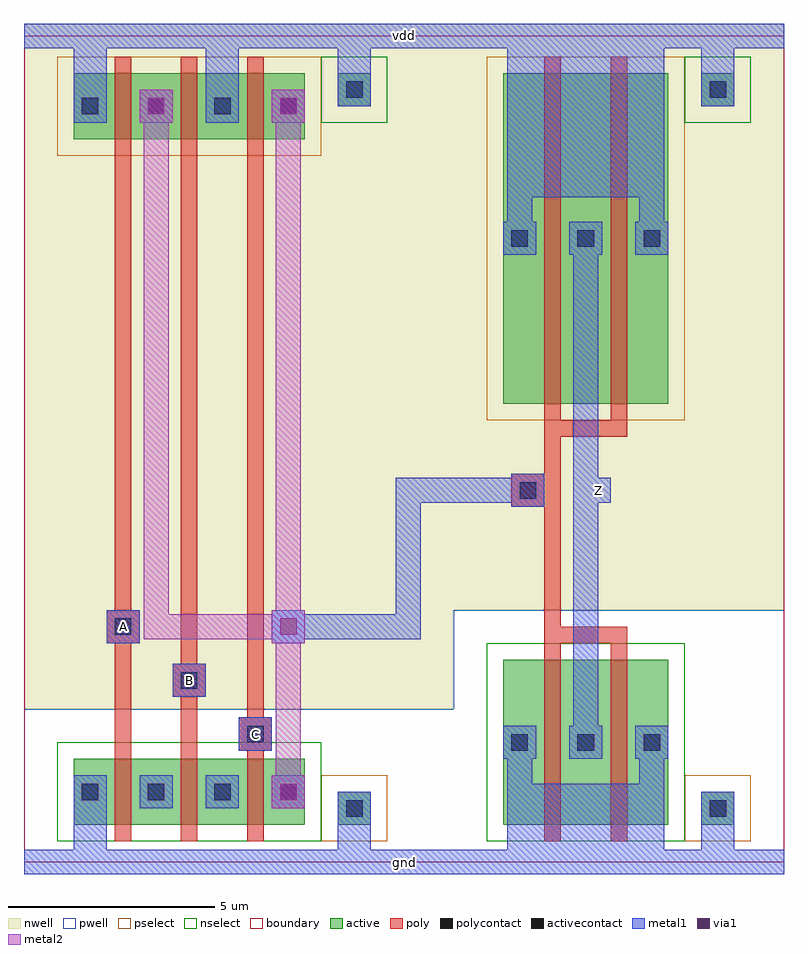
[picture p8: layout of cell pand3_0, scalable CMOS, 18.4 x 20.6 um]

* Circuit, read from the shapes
.subckt pand3_0 A B C Z gnd vdd
M1 pnand3_1_0/nmos_m1_w1_600_a_p_3/D A gnd gnd nfet w=1.6u l=0.4u
M2 pnand3_1_0/nmos_m1_w1_600_a_p_4/D B pnand3_1_0/nmos_m1_w1_600_a_p_3/D gnd nfet w=1.6u l=0.4u
M3 pinv_8_1/A C pnand3_1_0/nmos_m1_w1_600_a_p_4/D gnd nfet w=1.6u l=0.4u
M4 Z pinv_8_1/A gnd gnd nfet w=4u l=0.4u m=2
M5 pinv_8_1/A A vdd vdd pfet w=1.6u l=0.4u
M6 vdd B pinv_8_1/A vdd pfet w=1.6u l=0.4u
M7 pinv_8_1/A C vdd vdd pfet w=1.6u l=0.4u
M8 Z pinv_8_1/A vdd vdd pfet w=8u l=0.4u m=2
.ends

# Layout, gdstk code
import gdstk
lib = gdstk.Library(unit=1e-6, precision=1e-09)
def R(c, l, rs):  # rectangles x0, y0, x1, y1
    for r in rs: c.add(gdstk.rectangle(r[:2], r[2:], *l))
def A(c, l, x, y, w, h, nx, ny, dx, dy):  # array of equal rectangles
    R(c, l, [(x+i*dx, y+j*dy, x+i*dx+w, y+j*dy+h) for i in range(nx) for j in range(ny)])
pwell = (41, 0)
nwell = (42, 0)
active = (43, 0)
pselect = (44, 0)
nselect = (45, 0)
poly = (46, 0)
polycontact = (47, 0)
activecontact = (48, 0)
metal1 = (49, 0)
via1 = (50, 0)
metal2 = (51, 0)
boundary = (63, 0)

contact_9 = lib.new_cell('contact_9')
R(contact_9, nwell, [(-1.2,-1.2,2,2)])
R(contact_9, active, [(0,0,0.8,0.8)])
R(contact_9, pselect, [(-0.4,-0.4,1.2,1.2)])
R(contact_9, activecontact, [(0.2,0.2,0.6,0.6)])
R(contact_9, metal1, [(0,0,0.8,0.8)])

pmos_m1_w1_600_a_p = lib.new_cell('pmos_m1_w1_600_a_p')
R(pmos_m1_w1_600_a_p, nwell, [(-1.2,-1.2,3.6,2.8)])
R(pmos_m1_w1_600_a_p, active, [(0,0,2.4,1.6)])
R(pmos_m1_w1_600_a_p, pselect, [(-0.4,-0.4,2.8,2)])
R(pmos_m1_w1_600_a_p, poly, [(1,-0.4,1.4,2), (1,-0.4,1.4,2)])
R(pmos_m1_w1_600_a_p, metal1, [(0,0.4,0.8,1.2), (1.6,0.4,2.4,1.2)])
pmos_m1_w1_600_a_p.add(gdstk.Reference(contact_9, (0,0.4)))
pmos_m1_w1_600_a_p.add(gdstk.Reference(contact_9, (1.6,0.4)))
pmos_m1_w1_600_a_p.add(gdstk.Label('G', (1.2,0.8), layer=46, texttype=0))
pmos_m1_w1_600_a_p.add(gdstk.Label('S', (0.4,0.8), layer=49, texttype=0))
pmos_m1_w1_600_a_p.add(gdstk.Label('D', (2,0.8), layer=49, texttype=0))

contact_14 = lib.new_cell('contact_14')
R(contact_14, pwell, [(-1.2,-1.2,2,2)])
R(contact_14, active, [(0,0,0.8,0.8)])
R(contact_14, nselect, [(-0.4,-0.4,1.2,1.2)])
R(contact_14, activecontact, [(0.2,0.2,0.6,0.6)])
R(contact_14, metal1, [(0,0,0.8,0.8)])

nmos_m1_w1_600_a_p = lib.new_cell('nmos_m1_w1_600_a_p')
R(nmos_m1_w1_600_a_p, pwell, [(-1.2,-1.2,3.6,2.8)])
R(nmos_m1_w1_600_a_p, active, [(0,0,2.4,1.6)])
R(nmos_m1_w1_600_a_p, nselect, [(-0.4,-0.4,2.8,2)])
R(nmos_m1_w1_600_a_p, poly, [(1,-0.4,1.4,2), (1,-0.4,1.4,2)])
R(nmos_m1_w1_600_a_p, metal1, [(0,0.4,0.8,1.2), (1.6,0.4,2.4,1.2)])
nmos_m1_w1_600_a_p.add(gdstk.Reference(contact_14, (0,0.4)))
nmos_m1_w1_600_a_p.add(gdstk.Reference(contact_14, (1.6,0.4)))
nmos_m1_w1_600_a_p.add(gdstk.Label('G', (1.2,0.8), layer=46, texttype=0))
nmos_m1_w1_600_a_p.add(gdstk.Label('S', (0.4,0.8), layer=49, texttype=0))
nmos_m1_w1_600_a_p.add(gdstk.Label('D', (2,0.8), layer=49, texttype=0))

contact_15 = lib.new_cell('contact_15')
R(contact_15, nwell, [(-1.2,-1.2,2,2)])
R(contact_15, active, [(0,0,0.8,0.8)])
R(contact_15, nselect, [(-0.4,-0.4,1.2,1.2)])
R(contact_15, activecontact, [(0.2,0.2,0.6,0.6)])
R(contact_15, metal1, [(0,0,0.8,0.8)])

contact_16 = lib.new_cell('contact_16')
R(contact_16, pwell, [(-1.2,-1.2,2,2)])
R(contact_16, active, [(0,0,0.8,0.8)])
R(contact_16, pselect, [(-0.4,-0.4,1.2,1.2)])
R(contact_16, activecontact, [(0.2,0.2,0.6,0.6)])
R(contact_16, metal1, [(0,0,0.8,0.8)])

contact_10 = lib.new_cell('contact_10')
R(contact_10, poly, [(0,0,0.8,0.8)])
R(contact_10, polycontact, [(0.2,0.2,0.6,0.6)])
R(contact_10, metal1, [(0,0,0.8,0.8)])

contact_18 = lib.new_cell('contact_18')
R(contact_18, metal1, [(0,0,0.8,0.8)])
R(contact_18, via1, [(0.2,0.2,0.6,0.6)])
R(contact_18, metal2, [(0,0,0.8,0.8)])

pnand3_1 = lib.new_cell('pnand3_1')
R(pnand3_1, pwell, [(0,-0.3,10.4,3.7)])
R(pnand3_1, nwell, [(0,3.7,10.4,20.3)])
A(pnand3_1, poly, 2.2, 0.5, 0.4, 16.6, 3, 1, 1.6, 0)
R(pnand3_1, poly, [(5.4,2.7,5.6,3.5), (3.8,4,4,4.8), (2.2,5.3,2.4,6.1)])
R(pnand3_1, metal1, [(0,-0.3,10.4,0.3), (1.2,-0.3,2,1.3), (7.6,0,8.4,1.3), (5.2,2.7,6,3.5), (3.6,4,4.4,4.8), (2,5.3,2.8,6.1), (6,5.3,6.8,6.1), (1.2,17.9,2,20.3), (4.4,17.9,5.2,20.3), (7.6,18.7,8.4,20), (0,19.7,10.4,20.3)])
R(pnand3_1, metal2, [(6.1,2.1,6.7,17.9), (6.1,2.1,6.7,5.7), (2.9,5.4,3.5,6), (3.2,5.4,6.4,6), (6.1,5.4,6.7,6), (2.9,5.7,3.5,17.9)])
R(pnand3_1, boundary, [(0,0,10.4,20)])
pnand3_1.add(gdstk.Reference(pmos_m1_w1_600_a_p, (1.2,17.5)))
pnand3_1.add(gdstk.Reference(pmos_m1_w1_600_a_p, (2.8,17.5)))
pnand3_1.add(gdstk.Reference(pmos_m1_w1_600_a_p, (4.4,17.5)))
pnand3_1.add(gdstk.Reference(nmos_m1_w1_600_a_p, (1.2,0.9)))
pnand3_1.add(gdstk.Reference(nmos_m1_w1_600_a_p, (2.8,0.9)))
pnand3_1.add(gdstk.Reference(nmos_m1_w1_600_a_p, (4.4,0.9)))
pnand3_1.add(gdstk.Reference(contact_15, (7.6,18.3)))
pnand3_1.add(gdstk.Reference(contact_16, (7.6,0.9)))
pnand3_1.add(gdstk.Reference(contact_10, (5.2,2.7)))
pnand3_1.add(gdstk.Reference(contact_10, (3.6,4)))
pnand3_1.add(gdstk.Reference(contact_10, (2,5.3)))
pnand3_1.add(gdstk.Reference(contact_18, (2.8,17.9)))
pnand3_1.add(gdstk.Reference(contact_18, (6,17.9)))
pnand3_1.add(gdstk.Reference(contact_18, (6,1.3)))
pnand3_1.add(gdstk.Reference(contact_18, (6,5.3)))
pnand3_1.add(gdstk.Label('gnd', (5.2,0), layer=49, texttype=0))
pnand3_1.add(gdstk.Label('vdd', (5.2,20), layer=49, texttype=0))
pnand3_1.add(gdstk.Label('C', (5.6,3.1), layer=49, texttype=0))
pnand3_1.add(gdstk.Label('B', (4,4.4), layer=49, texttype=0))
pnand3_1.add(gdstk.Label('A', (2.4,5.7), layer=49, texttype=0))
pnand3_1.add(gdstk.Label('Z', (6.4,5.7), layer=49, texttype=0))

pmos_m2_w8_000_a_p = lib.new_cell('pmos_m2_w8_000_a_p')
R(pmos_m2_w8_000_a_p, nwell, [(-1.2,-1.2,5.2,9.2)])
R(pmos_m2_w8_000_a_p, active, [(0,0,4,8)])
R(pmos_m2_w8_000_a_p, pselect, [(-0.4,-0.4,4.4,8.4)])
R(pmos_m2_w8_000_a_p, poly, [(1,-0.8,3,-0.4), (1,-0.4,1.4,8.4), (2.6,-0.4,3,8.4)])
R(pmos_m2_w8_000_a_p, metal1, [(1.6,3.6,2.4,4.4), (0.1,4,0.7,5.3), (3.3,4,3.9,5.3), (0.1,5,3.9,5.6)])
pmos_m2_w8_000_a_p.add(gdstk.Reference(contact_9, (0,3.6)))
pmos_m2_w8_000_a_p.add(gdstk.Reference(contact_9, (3.2,3.6)))
pmos_m2_w8_000_a_p.add(gdstk.Reference(contact_9, (1.6,3.6)))
pmos_m2_w8_000_a_p.add(gdstk.Label('G', (2,-0.6), layer=46, texttype=0))
pmos_m2_w8_000_a_p.add(gdstk.Label('S', (2,5.3), layer=49, texttype=0))
pmos_m2_w8_000_a_p.add(gdstk.Label('D', (2,4), layer=49, texttype=0))

nmos_m2_w4_000_a_p = lib.new_cell('nmos_m2_w4_000_a_p')
R(nmos_m2_w4_000_a_p, pwell, [(-1.2,-1.2,5.2,5.2)])
R(nmos_m2_w4_000_a_p, active, [(0,0,4,4)])
R(nmos_m2_w4_000_a_p, nselect, [(-0.4,-0.4,4.4,4.4)])
R(nmos_m2_w4_000_a_p, poly, [(1,-0.4,1.4,4.4), (2.6,-0.4,3,4.4), (1,4.4,3,4.8)])
R(nmos_m2_w4_000_a_p, metal1, [(0.1,0.4,3.9,1), (0.1,0.7,0.7,2), (3.3,0.7,3.9,2), (1.6,1.6,2.4,2.4)])
nmos_m2_w4_000_a_p.add(gdstk.Reference(contact_14, (0,1.6)))
nmos_m2_w4_000_a_p.add(gdstk.Reference(contact_14, (3.2,1.6)))
nmos_m2_w4_000_a_p.add(gdstk.Reference(contact_14, (1.6,1.6)))
nmos_m2_w4_000_a_p.add(gdstk.Label('G', (2,4.6), layer=46, texttype=0))
nmos_m2_w4_000_a_p.add(gdstk.Label('S', (2,0.7), layer=49, texttype=0))
nmos_m2_w4_000_a_p.add(gdstk.Label('D', (2,2), layer=49, texttype=0))

pinv_8 = lib.new_cell('pinv_8')
R(pinv_8, pwell, [(0,-0.3,8,6.1)])
R(pinv_8, nwell, [(0,6.1,8,20.3)])
R(pinv_8, poly, [(2.2,5.3,2.6,10.3), (1.8,8.6,2.2,9.4)])
R(pinv_8, metal1, [(0,-0.3,8,0.3), (1.3,-0.3,5.1,1.3), (6,0,6.8,1.3), (2.9,2.5,3.5,15.5), (1.4,8.6,2.2,9.4), (3.2,8.7,3.8,9.3), (1.3,16.1,5.1,20.3), (6,18.7,6.8,20), (0,19.7,8,20.3)])
R(pinv_8, boundary, [(0,0,8,20)])
pinv_8.add(gdstk.Reference(pmos_m2_w8_000_a_p, (1.2,11.1)))
pinv_8.add(gdstk.Reference(nmos_m2_w4_000_a_p, (1.2,0.9)))
pinv_8.add(gdstk.Reference(contact_15, (6,18.3)))
pinv_8.add(gdstk.Reference(contact_16, (6,0.9)))
pinv_8.add(gdstk.Reference(contact_10, (1.4,8.6)))
pinv_8.add(gdstk.Label('gnd', (4,0), layer=49, texttype=0))
pinv_8.add(gdstk.Label('vdd', (4,20), layer=49, texttype=0))
pinv_8.add(gdstk.Label('A', (1.8,9), layer=49, texttype=0))
pinv_8.add(gdstk.Label('Z', (3.5,9), layer=49, texttype=0))

pand3_0 = lib.new_cell('pand3_0')
R(pand3_0, metal1, [(0,-0.3,18.4,0.3), (5.2,2.7,6,3.5), (3.6,4,4.4,4.8), (2,5.3,2.8,6.1), (6.4,5.4,9.3,6), (9,5.4,9.6,6), (9,5.7,9.6,9), (9,8.7,9.6,9.3), (9.3,8.7,12.2,9.3), (13.6,8.7,14.2,9.3), (0,19.7,18.4,20.3)])
R(pand3_0, boundary, [(0,0,18.4,20)])
pand3_0.add(gdstk.Reference(pnand3_1, (0,0)))
pand3_0.add(gdstk.Reference(pinv_8, (10.4,0)))
pand3_0.add(gdstk.Label('vdd', (9.2,20), layer=49, texttype=0))
pand3_0.add(gdstk.Label('gnd', (9.2,0), layer=49, texttype=0))
pand3_0.add(gdstk.Label('Z', (13.9,9), layer=49, texttype=0))
pand3_0.add(gdstk.Label('A', (2.4,5.7), layer=49, texttype=0))
pand3_0.add(gdstk.Label('B', (4,4.4), layer=49, texttype=0))
pand3_0.add(gdstk.Label('C', (5.6,3.1), layer=49, texttype=0))

lib.write_gds('pand3_0.gds')
